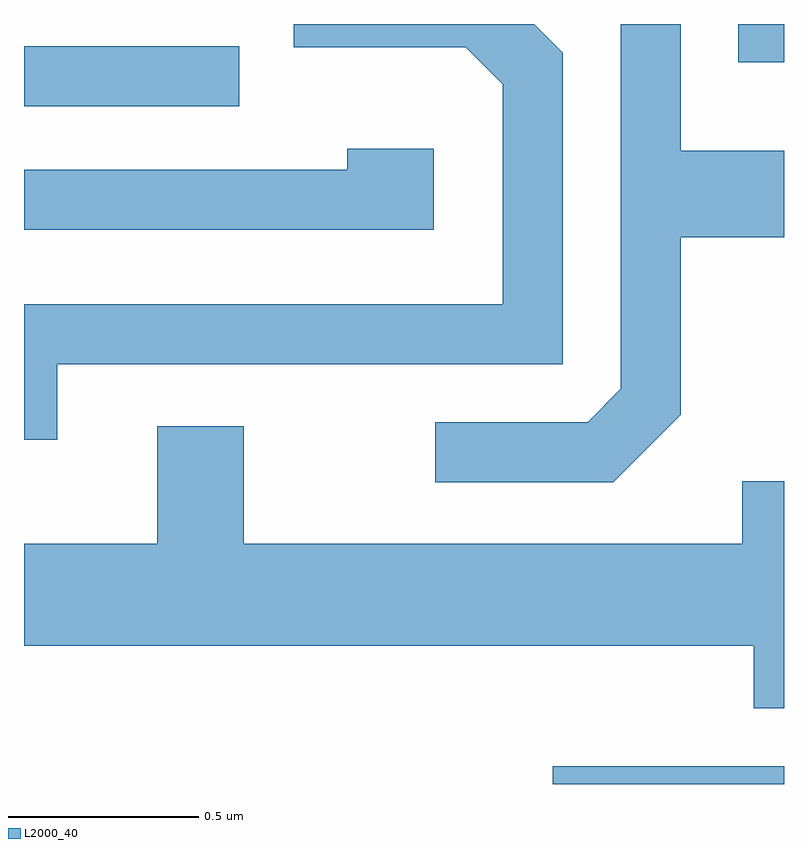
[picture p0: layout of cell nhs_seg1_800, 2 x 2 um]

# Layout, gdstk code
import gdstk
lib = gdstk.Library(unit=1e-6, precision=1e-09)
def R(c, l, rs):  # rectangles x0, y0, x1, y1
    for r in rs: c.add(gdstk.rectangle(r[:2], r[2:], *l))
def P(c, l, *ps):  # polygons
    for p in ps: c.add(gdstk.Polygon(p, *l))
L2000_40 = (2000, 40)

nhs_seg1_800 = lib.new_cell('nhs_seg1_800')
R(nhs_seg1_800, L2000_40, [(192.003,954.712,192.611,954.759), (190.611,956.496,191.178,956.654), (192.491,956.611,192.611,956.712)])
P(nhs_seg1_800, L2000_40, [(192.339,955.684),(192.339,956.151),(192.611,956.151),(192.611,956.379),(192.339,956.379),(192.339,956.712),(192.181,956.712),(192.181,955.752),(192.094,955.664),(191.693,955.664),(191.693,955.506),(192.162,955.506)],
  [(190.699,955.816),(192.029,955.816),(192.029,956.637),(191.954,956.712),(191.321,956.712),(191.321,956.651),(191.774,956.651),(191.871,956.554),(191.871,955.974),(190.611,955.974),(190.611,955.618),(190.699,955.618)],
  [(191.689,956.384),(191.461,956.384),(191.461,956.329),(190.611,956.329),(190.611,956.171),(191.689,956.171)],
  [(192.611,955.509),(192.501,955.509),(192.501,955.344),(191.189,955.344),(191.189,955.654),(190.961,955.654),(190.961,955.344),(190.611,955.344),(190.611,955.076),(192.531,955.076),(192.531,954.911),(192.611,954.911)])

lib.write_gds('nhs_seg1_800.gds')
